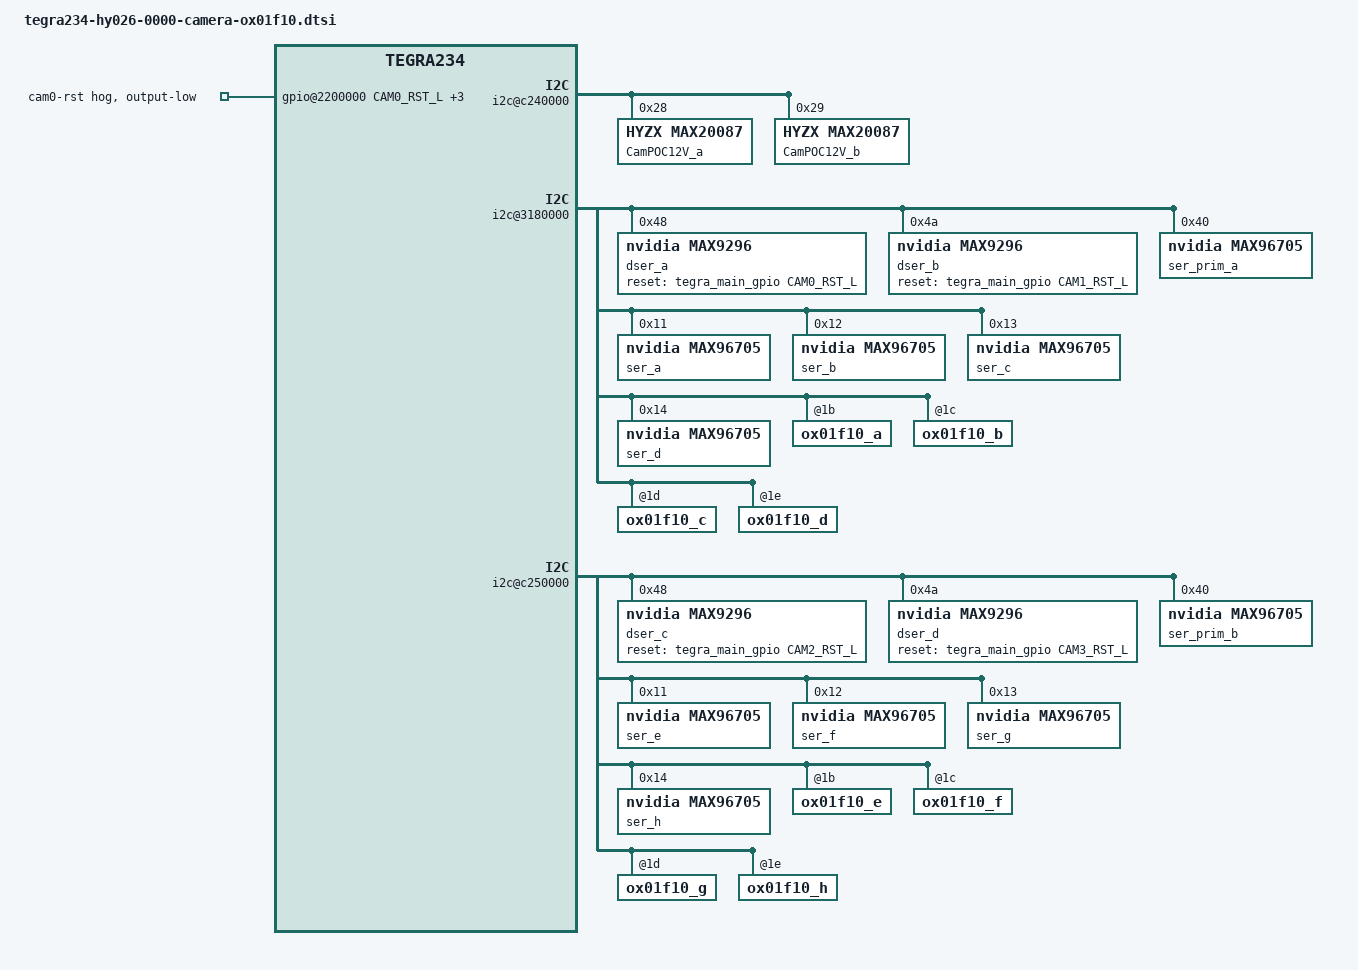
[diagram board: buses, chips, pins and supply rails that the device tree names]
/*
 * Copyright (c) 2018-2019, NVIDIA CORPORATION.  All rights reserved.
 *
 * This program is free software; you can redistribute it and/or modify
 * it under the terms of the GNU General Public License as published by
 * the Free Software Foundation; either version 2 of the License, or
 * (at your option) any later version.
 *
 * This program is distributed in the hope that it will be useful, but WITHOUT
 * ANY WARRANTY; without even the implied warranty of MERCHANTABILITY or
 * FITNESS FOR A PARTICULAR PURPOSE.  See the GNU General Public License for
 * more details.
 *
 * You should have received a copy of the GNU General Public License
 * along with this program.  If not, see <http://www.gnu.org/licenses/>.
 */
#include <t234-common-modules/tegra234-hy026-camera-ox01f10.dtsi>
#include "dt-bindings/clock/tegra234-clock.h"

#define CAMERA_I2C_MUX_BUS(x) (0x1E + x)

/* camera control gpio definitions */

/ {

	/* set camera gpio direction to output */
	gpio@2200000 {
		camera-control-output-low {
			gpio-hog;
			output-low;
			gpios = <CAM0_RST_L 0 CAM1_RST_L 0
				 CAM2_RST_L 0 CAM3_RST_L 0>;

			label = "cam0-rst", "cam1-rst",
				"cam2-rst", "cam3-rst";
		};
	};

	i2c@c240000 {
        CamPOC12V_a: max2008X@00{
            compatible = "HYZX,max20087";
            reg = <0x28>;
            out-ports = <4>;
            out-boot-on = <1 1 1 1>;
            power-on-delay = <250>;
            status = "okay";
        };
        CamPOC12V_b: max2008X@01{
            compatible = "HYZX,max20087";
            reg = <0x29>;
            out-ports = <4>;
            out-boot-on = <1 1 1 1>;
            power-on-delay = <250>;
            status = "okay";
        };
	};

	i2c@3180000 {
				dser_a: max9296@48{
					compatible = "nvidia,max9296";
					reg = <0x48>;
					gmsl-mode = "gmsl-1";  /* Example: "gmsl-1", "gmsl-2", "gmsl-2-3G" */
					csi-mode = "2x4";
					max-src = <2>;
					dser-num = <0>;
					mipi-clk = <600>;  /* mipi-clk: MHz */
					reset-gpios = <&tegra_main_gpio CAM0_RST_L GPIO_ACTIVE_HIGH>;
				};

				dser_b: max9296@4a{
					compatible = "nvidia,max9296";
					reg = <0x4a>;
					gmsl-mode = "gmsl-1";
					csi-mode = "2x4";
					max-src = <2>;
					dser-num = <1>;
					mipi-clk = <600>;  /* mipi-clk: MHz */
					reset-gpios = <&tegra_main_gpio CAM1_RST_L GPIO_ACTIVE_HIGH>;
				};

				ser_prim_a: max96705_prim@40 {
					compatible = "nvidia,max96705";
					reg = <0x40>;
					group=<0>;
					is-prim-ser;
				};
				ser_a: max96705_a@11 {
					compatible = "nvidia,max96705";
					reg = <0x11>;
					group=<0>;
					dser-num = <0>;
					nvidia,gmsl-dser-device = <&dser_a>;
				};
				ser_b: max96705_b@12 {
					compatible = "nvidia,max96705";
					reg = <0x12>;
					group=<0>;
					dser-num = <0>;
					nvidia,gmsl-dser-device = <&dser_a>;
				};
				ser_c: max96705_c@13 {
					compatible = "nvidia,max96705";
					reg = <0x13>;
					group=<0>;
					dser-num = <1>;
					nvidia,gmsl-dser-device = <&dser_b>;
				};
				ser_d: max96705_d@14 {
					compatible = "nvidia,max96705";
					reg = <0x14>;
					group=<0>;
					dser-num = <1>;
					nvidia,gmsl-dser-device = <&dser_b>;
				};
				ox01f10_a@1b {
					def-addr = <0x24>;
					clocks = <&bpmp_clks TEGRA234_CLK_EXTPERIPH1>,
							<&bpmp_clks TEGRA234_CLK_EXTPERIPH1>;
					clock-names = "extperiph1", "pllp_grtba";
					mclk = "extperiph1";
					dser-num = <0>;
					nvidia,gmsl-ser-device = <&ser_a>;
					nvidia,gmsl-dser-device = <&dser_a>;
					gmsl-link {
						//frame-sync-en;
					};
				};
				ox01f10_b@1c {
					def-addr = <0x24>;
					clocks = <&bpmp_clks TEGRA234_CLK_EXTPERIPH1>,
							<&bpmp_clks TEGRA234_CLK_EXTPERIPH1>;
					clock-names = "extperiph1", "pllp_grtba";
					mclk = "extperiph1";
					dser-num = <0>;
					nvidia,gmsl-ser-device = <&ser_b>;
					nvidia,gmsl-dser-device = <&dser_a>;
					gmsl-link {
						//frame-sync-en;
					};
				};
				ox01f10_c@1d {
					def-addr = <0x24>;
					clocks = <&bpmp_clks TEGRA234_CLK_EXTPERIPH1>,
							<&bpmp_clks TEGRA234_CLK_EXTPERIPH1>;
					clock-names = "extperiph1", "pllp_grtba";
					mclk = "extperiph1";
					dser-num = <1>;
					nvidia,gmsl-ser-device = <&ser_c>;
					nvidia,gmsl-dser-device = <&dser_b>;
					gmsl-link {
						//frame-sync-en;
					};
				};
				ox01f10_d@1e {
					def-addr = <0x24>;
					clocks = <&bpmp_clks TEGRA234_CLK_EXTPERIPH1>,
							<&bpmp_clks TEGRA234_CLK_EXTPERIPH1>;
					clock-names = "extperiph1", "pllp_grtba";
					mclk = "extperiph1";
					dser-num = <1>;
					nvidia,gmsl-ser-device = <&ser_d>;
					nvidia,gmsl-dser-device = <&dser_b>;
					gmsl-link {
						//frame-sync-en;
					};
				};
	};


    #if 1
	i2c@c250000 {
				dser_c: max9296@48{
					compatible = "nvidia,max9296";
					reg = <0x48>;
					gmsl-mode = "gmsl-1";
					csi-mode = "2x4";
					max-src = <2>;
					dser-num = <2>;
					mipi-clk = <600>;  /* mipi-clk: MHz */
					reset-gpios = <&tegra_main_gpio CAM2_RST_L GPIO_ACTIVE_HIGH>;
				};

				dser_d: max9296@4a{
					compatible = "nvidia,max9296";
					reg = <0x4a>;
					gmsl-mode = "gmsl-1";
					csi-mode = "2x4";
					max-src = <2>;
					dser-num = <3>;
					mipi-clk = <600>;  /* mipi-clk: MHz */
					reset-gpios = <&tegra_main_gpio CAM3_RST_L GPIO_ACTIVE_HIGH>;
				};
				ser_prim_b: max96705_prim@40 {
					compatible = "nvidia,max96705";
					reg = <0x40>;
					group=<1>;
					is-prim-ser1;
				};
				ser_e: max96705_e@11 {
					compatible = "nvidia,max96705";
					reg = <0x11>;
					group=<1>;
					dser-num = <2>;
					nvidia,gmsl-dser-device = <&dser_c>;
				};
				ser_f: max96705_f@12 {
					compatible = "nvidia,max96705";
					reg = <0x12>;
					group=<1>;
					dser-num = <2>;
					nvidia,gmsl-dser-device = <&dser_c>;
				};
				ser_g: max96705_g@13 {
					compatible = "nvidia,max96705";
					reg = <0x13>;
					group=<1>;
					dser-num = <3>;
					nvidia,gmsl-dser-device = <&dser_d>;
				};
				ser_h: max96705_h@14 {
					compatible = "nvidia,max96705";
					reg = <0x14>;
					group=<1>;
					dser-num = <3>;
					nvidia,gmsl-dser-device = <&dser_d>;
				};

				ox01f10_e@1b {
					def-addr = <0x24>;
					/* Define any required hw resources needed by driver */
					/* ie. clocks, io pins, power sources */
					clocks = <&bpmp_clks TEGRA234_CLK_EXTPERIPH1>,
							<&bpmp_clks TEGRA234_CLK_EXTPERIPH1>;
					clock-names = "extperiph1", "pllp_grtba";
					mclk = "extperiph1";
					dser-num = <2>;
					nvidia,gmsl-ser-device = <&ser_e>;
					nvidia,gmsl-dser-device = <&dser_c>;
					gmsl-link {
						//frame-sync-en;
					};
				};
				ox01f10_f@1c {
					def-addr = <0x24>;
					/* Define any required hw resources needed by driver */
					/* ie. clocks, io pins, power sources */
					clocks = <&bpmp_clks TEGRA234_CLK_EXTPERIPH1>,
							<&bpmp_clks TEGRA234_CLK_EXTPERIPH1>;
					clock-names = "extperiph1", "pllp_grtba";
					mclk = "extperiph1";
					dser-num = <2>;
					nvidia,gmsl-ser-device = <&ser_f>;
					nvidia,gmsl-dser-device = <&dser_c>;
					gmsl-link {
						//frame-sync-en;
					};
				};
				ox01f10_g@1d {
					def-addr = <0x24>;
					/* Define any required hw resources needed by driver */
					/* ie. clocks, io pins, power sources */
					clocks = <&bpmp_clks TEGRA234_CLK_EXTPERIPH1>,
							<&bpmp_clks TEGRA234_CLK_EXTPERIPH1>;
					clock-names = "extperiph1", "pllp_grtba";
					mclk = "extperiph1";
					dser-num = <3>;
					nvidia,gmsl-ser-device = <&ser_g>;
					nvidia,gmsl-dser-device = <&dser_d>;
					gmsl-link {
						//frame-sync-en;
					};
				};
				ox01f10_h@1e {
					def-addr = <0x24>;
					/* Define any required hw resources needed by driver */
					/* ie. clocks, io pins, power sources */
					clocks = <&bpmp_clks TEGRA234_CLK_EXTPERIPH1>,
							<&bpmp_clks TEGRA234_CLK_EXTPERIPH1>;
					clock-names = "extperiph1", "pllp_grtba";
					mclk = "extperiph1";
					dser-num = <3>;
					nvidia,gmsl-ser-device = <&ser_h>;
					nvidia,gmsl-dser-device = <&dser_d>;
					gmsl-link {
						//frame-sync-en;
					};
				};
	};
    #endif


};
